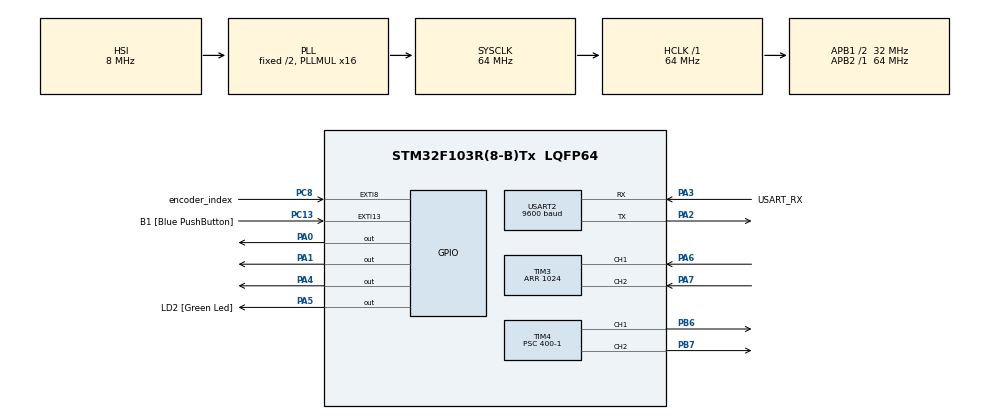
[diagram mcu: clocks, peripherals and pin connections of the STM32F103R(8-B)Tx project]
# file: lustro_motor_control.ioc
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Mcu.Family=STM32F1
Mcu.Name=STM32F103R(8-B)Tx
Mcu.Package=LQFP64
NVIC.EXTI15_10_IRQn=true\:0\:0\:false\:false\:true\:true
NVIC.EXTI9_5_IRQn=true\:0\:0\:false\:false\:true\:true
NVIC.PriorityGroup=NVIC_PRIORITYGROUP_4
NVIC.TIM2_IRQn=true\:0\:0\:false\:false\:true\:true
PA0-WKUP.Signal=GPIO_Output
PA1.Signal=GPIO_Output
PA13.GPIO_Label=TMS
PA13.Mode=Serial_Wire
PA13.Signal=SYS_JTMS-SWDIO
PA14.GPIO_Label=TCK
PA14.Mode=Serial_Wire
PA14.Signal=SYS_JTCK-SWCLK
PA2.GPIO_Speed=GPIO_SPEED_FREQ_LOW
PA2.Mode=Asynchronous
PA2.Signal=USART2_TX
PA3.GPIO_Label=USART_RX
PA3.GPIO_Mode=GPIO_MODE_INPUT
PA3.GPIO_PuPd=GPIO_NOPULL
PA3.GPIO_Speed=GPIO_SPEED_FREQ_LOW
PA3.Mode=Asynchronous
PA3.Signal=USART2_RX
PA4.Signal=GPIO_Output
PA5.GPIO_Label=LD2 [Green Led]
PA5.GPIO_ModeDefaultOutputPP=GPIO_MODE_OUTPUT_PP
PA5.GPIO_PuPd=GPIO_NOPULL
PA5.GPIO_Speed=GPIO_SPEED_FREQ_LOW
PA5.Signal=GPIO_Output
PA6.GPIO_PuPd=GPIO_PULLUP
PA6.Signal=S_TIM3_CH1
PA7.GPIO_PuPd=GPIO_PULLUP
PA7.Signal=S_TIM3_CH2
PB3.GPIO_Label=SWO
PB3.Signal=SYS_JTDO-TRACESWO
PB6.GPIO_Speed=GPIO_SPEED_FREQ_HIGH
PB6.Signal=S_TIM4_CH1
PB7.GPIO_Speed=GPIO_SPEED_FREQ_HIGH
PB7.Signal=S_TIM4_CH2
PC13-TAMPER-RTC.GPIO_Label=B1 [Blue PushButton]
PC13-TAMPER-RTC.GPIO_PuPd=GPIO_NOPULL
PC13-TAMPER-RTC.Signal=GPXTI13
PC14-OSC32_IN.Mode=LSE-External-Oscillator
PC14-OSC32_IN.Signal=RCC_OSC32_IN
PC15-OSC32_OUT.Mode=LSE-External-Oscillator
PC15-OSC32_OUT.Signal=RCC_OSC32_OUT
PC8.GPIO_Label=encoder_index
PC8.GPIO_ModeDefaultEXTI=GPIO_MODE_IT_RISING
PC8.GPIO_PuPd=GPIO_PULLUP
PC8.Signal=GPXTI8
PD0-OSC_IN.Mode=HSE-External-Clock-Source
PD0-OSC_IN.Signal=RCC_OSC_IN
PD1-OSC_OUT.Mode=HSE-External-Clock-Source
PD1-OSC_OUT.Signal=RCC_OSC_OUT
ProjectManager.HeapSize=0x200
ProjectManager.StackSize=0x400
ProjectManager.TargetToolchain=SW4STM32
RCC.AHBFreq_Value=64000000
RCC.APB1CLKDivider=RCC_HCLK_DIV2
RCC.APB1Freq_Value=32000000
RCC.APB1TimFreq_Value=64000000
RCC.APB2Freq_Value=64000000
RCC.APB2TimFreq_Value=64000000
RCC.HCLKFreq_Value=64000000
RCC.PLLMUL=RCC_PLL_MUL16
RCC.RTCClockSelection=RCC_RTCCLKSOURCE_LSE
RCC.SYSCLKFreq_VALUE=64000000
RCC.SYSCLKSource=RCC_SYSCLKSOURCE_PLLCLK
RCC.USBFreq_Value=64000000
SH.S_TIM3_CH1.0=TIM3_CH1,Encoder_Interface
SH.S_TIM3_CH2.0=TIM3_CH2,Encoder_Interface
SH.S_TIM4_CH1.0=TIM4_CH1,PWM Generation1 CH1
SH.S_TIM4_CH2.0=TIM4_CH2,PWM Generation2 CH2
TIM2.Period=100-1
TIM2.Prescaler=64000-1
TIM3.EncoderMode=TIM_ENCODERMODE_TI12
TIM3.Period=1024
TIM4.AutoReloadPreload=TIM_AUTORELOAD_PRELOAD_ENABLE
TIM4.Channel-PWM\ Generation1\ CH1=TIM_CHANNEL_1
TIM4.Channel-PWM\ Generation2\ CH2=TIM_CHANNEL_2
TIM4.OCFastMode_PWM-PWM\ Generation1\ CH1=TIM_OCFAST_ENABLE
TIM4.OCFastMode_PWM-PWM\ Generation2\ CH2=TIM_OCFAST_ENABLE
TIM4.Period=100-1
TIM4.Prescaler=400-1
USART2.BaudRate=9600
USART2.VirtualMode=VM_ASYNC
VP_TIM2_VS_ClockSourceINT.Mode=Internal
board=NUCLEO-F103RB

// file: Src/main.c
/**
  ******************************************************************************
  * @file           : main.c
  * @brief          : Main program body
  ******************************************************************************
  ** This notice applies to any and all portions of this file
  * that are not between comment pairs USER CODE BEGIN and
  * USER CODE END. Other portions of this file, whether
  * inserted by the user or by software development tools
  * are owned by their respective copyright owners.
  *
  * COPYRIGHT(c) 2018 STMicroelectronics
  *
  * Redistribution and use in source and binary forms, with or without modification,
  * are permitted provided that the following conditions are met:
  *   1. Redistributions of source code must retain the above copyright notice,
  *      this list of conditions and the following disclaimer.
  *   2. Redistributions in binary form must reproduce the above copyright notice,
  *      this list of conditions and the following disclaimer in the documentation
  *      and/or other materials provided with the distribution.
  *   3. Neither the name of STMicroelectronics nor the names of its contributors
  *      may be used to endorse or promote products derived from this software
  *      without specific prior written permission.
  *
  * THIS SOFTWARE IS PROVIDED BY THE COPYRIGHT HOLDERS AND CONTRIBUTORS "AS IS"
  * AND ANY EXPRESS OR IMPLIED WARRANTIES, INCLUDING, BUT NOT LIMITED TO, THE
  * IMPLIED WARRANTIES OF MERCHANTABILITY AND FITNESS FOR A PARTICULAR PURPOSE ARE
  * DISCLAIMED. IN NO EVENT SHALL THE COPYRIGHT HOLDER OR CONTRIBUTORS BE LIABLE
  * FOR ANY DIRECT, INDIRECT, INCIDENTAL, SPECIAL, EXEMPLARY, OR CONSEQUENTIAL
  * DAMAGES (INCLUDING, BUT NOT LIMITED TO, PROCUREMENT OF SUBSTITUTE GOODS OR
  * SERVICES; LOSS OF USE, DATA, OR PROFITS; OR BUSINESS INTERRUPTION) HOWEVER
  * CAUSED AND ON ANY THEORY OF LIABILITY, WHETHER IN CONTRACT, STRICT LIABILITY,
  * OR TORT (INCLUDING NEGLIGENCE OR OTHERWISE) ARISING IN ANY WAY OUT OF THE USE
  * OF THIS SOFTWARE, EVEN IF ADVISED OF THE POSSIBILITY OF SUCH DAMAGE.
  *
  ******************************************************************************
  */
#include "main.h"
#include "stm32f1xx_hal.h"

/* USER CODE BEGIN Includes */
#include <string.h>
#include <stdbool.h>
/* USER CODE END Includes */

TIM_HandleTypeDef htim2;
TIM_HandleTypeDef htim3;
TIM_HandleTypeDef htim4;

UART_HandleTypeDef huart2;

/* USER CODE BEGIN PV */
/* Private variables ---------------------------------------------------------*/
// TODO
// dodac max predkosc/wypelnienie, zabezpieczenie

volatile char message[200];
uint8_t value;
typedef enum {frd, brd} dir;

struct DC_Motor {
	float speed;
	float duty;
	dir rot_dir;
};

volatile uint16_t pulse_count = 0; // Licznik impulsow
volatile uint16_t pulse_count_prev = 0;
volatile uint8_t index_cnt = 0;
float velocity_meas = 0;
const float rpm_const = 17.066667;
int8_t msr =0;
int16_t delta_pulse;
/* USER CODE END PV */

void SystemClock_Config(void);
static void MX_GPIO_Init(void);
static void MX_TIM4_Init(void);
static void MX_TIM3_Init(void);
static void MX_TIM2_Init(void);
static void MX_USART2_UART_Init(void);

void HAL_TIM_MspPostInit(TIM_HandleTypeDef *htim);

/* USER CODE BEGIN PFP */
/* Private function prototypes -----------------------------------------------*/
void get_rotation(dir rot_dir_get, float speed_get, struct DC_Motor *ptr);
void set_pwm(struct DC_Motor *ptr);
void uart_send(char* s);
void measure_motor(uint16_t pulse_count, uint16_t pulse_count_prev, uint16_t delta_pulse);
//void HAL_SYSTICK_Callback(struct DC_Motor *ptr);
/* USER CODE END PFP */

int main(void)
{
  /* USER CODE BEGIN 1 */
	struct DC_Motor *mmeasPtr, motor_meas; //zapisuje ZMIERZONE dane
	mmeasPtr = &motor_meas;
	motor_meas.rot_dir = frd;
	motor_meas.speed = 4360.0;
	motor_meas.duty = motor_meas.speed/5260.0*100.0;// nominal speed 5260 rpm

	struct DC_Motor *mrefPtr, motor_ref; //zapisuje ZADANE/REFERENCE dane
	mrefPtr = &motor_ref;
	motor_ref.rot_dir = frd;
	motor_ref.speed = 4360.0;
	motor_ref.duty = motor_ref.speed/5260.0*100.0;// nominal speed 5260 rpm
	//	SystemCoreClock = 8000000; // taktowanie zegara 8Mhz

  /* USER CODE END 1 */

  /* MCU Configuration----------------------------------------------------------*/

  /* Reset of all peripherals, Initializes the Flash interface and the Systick. */
  HAL_Init();

  /* Configure the system clock */
  SystemClock_Config();

  /* Initialize all configured peripherals */
  MX_GPIO_Init();
  MX_TIM4_Init();
  MX_TIM3_Init();
  MX_TIM2_Init();
  MX_USART2_UART_Init();
  /* USER CODE BEGIN 2 */
	HAL_TIM_Encoder_Start(&htim3, TIM_CHANNEL_ALL);
	HAL_TIM_Base_Start_IT(&htim2);
  /* USER CODE END 2 */

  /* Infinite loop */
  /* USER CODE BEGIN WHILE */
	while (1)
	{

		if (__HAL_UART_GET_FLAG(&huart2, UART_FLAG_RXNE) == SET)
		{
			HAL_UART_Receive(&huart2, &value, 1, 100);
			printf("Odebrano: %c\r\n", value);
			switch(value){
			case 'a': // backward
				get_rotation(brd, 5255.0, &motor_ref);
				set_pwm(&motor_ref); // nie dziala
				break;
			case 'd':  //forward
				get_rotation(frd, 1920.0, &motor_ref); //test, bo to niby dobra predkosc
				set_pwm(&motor_ref);
				break;
			default:
				uart_send("default\n");
				break;
			}
		}
		if (msr==1){
			msr=0;
			measure_motor(pulse_count, pulse_count_prev, delta_pulse);

		}
  /* USER CODE END WHILE */

	}

}

void SystemClock_Config(void)
{

  RCC_OscInitTypeDef RCC_OscInitStruct;
  RCC_ClkInitTypeDef RCC_ClkInitStruct;

    /**Initializes the CPU, AHB and APB busses clocks
    */
  RCC_OscInitStruct.OscillatorType = RCC_OSCILLATORTYPE_HSI;
  RCC_OscInitStruct.HSIState = RCC_HSI_ON;
  RCC_OscInitStruct.HSICalibrationValue = 16;
  RCC_OscInitStruct.PLL.PLLState = RCC_PLL_ON;
  RCC_OscInitStruct.PLL.PLLSource = RCC_PLLSOURCE_HSI_DIV2;
  RCC_OscInitStruct.PLL.PLLMUL = RCC_PLL_MUL16;
  if (HAL_RCC_OscConfig(&RCC_OscInitStruct) != HAL_OK)
  {
    _Error_Handler(__FILE__, __LINE__);
  }

    /**Initializes the CPU, AHB and APB busses clocks
    */
  RCC_ClkInitStruct.ClockType = RCC_CLOCKTYPE_HCLK|RCC_CLOCKTYPE_SYSCLK
                              |RCC_CLOCKTYPE_PCLK1|RCC_CLOCKTYPE_PCLK2;
  RCC_ClkInitStruct.SYSCLKSource = RCC_SYSCLKSOURCE_PLLCLK;
  RCC_ClkInitStruct.AHBCLKDivider = RCC_SYSCLK_DIV1;
  RCC_ClkInitStruct.APB1CLKDivider = RCC_HCLK_DIV2;
  RCC_ClkInitStruct.APB2CLKDivider = RCC_HCLK_DIV1;

  if (HAL_RCC_ClockConfig(&RCC_ClkInitStruct, FLASH_LATENCY_2) != HAL_OK)
  {
    _Error_Handler(__FILE__, __LINE__);
  }

    /**Configure the Systick interrupt time
    */
  HAL_SYSTICK_Config(HAL_RCC_GetHCLKFreq()/1000);

    /**Configure the Systick
    */
  HAL_SYSTICK_CLKSourceConfig(SYSTICK_CLKSOURCE_HCLK);

  /* SysTick_IRQn interrupt configuration */
  HAL_NVIC_SetPriority(SysTick_IRQn, 0, 0);
}

/* TIM2 init function */
static void MX_TIM2_Init(void)
{

  TIM_ClockConfigTypeDef sClockSourceConfig;
  TIM_MasterConfigTypeDef sMasterConfig;

  htim2.Instance = TIM2;
  htim2.Init.Prescaler = 64000-1;
  htim2.Init.CounterMode = TIM_COUNTERMODE_UP;
  htim2.Init.Period = 100-1;
  htim2.Init.ClockDivision = TIM_CLOCKDIVISION_DIV1;
  htim2.Init.AutoReloadPreload = TIM_AUTORELOAD_PRELOAD_DISABLE;
  if (HAL_TIM_Base_Init(&htim2) != HAL_OK)
  {
    _Error_Handler(__FILE__, __LINE__);
  }

  sClockSourceConfig.ClockSource = TIM_CLOCKSOURCE_INTERNAL;
  if (HAL_TIM_ConfigClockSource(&htim2, &sClockSourceConfig) != HAL_OK)
  {
    _Error_Handler(__FILE__, __LINE__);
  }

  sMasterConfig.MasterOutputTrigger = TIM_TRGO_RESET;
  sMasterConfig.MasterSlaveMode = TIM_MASTERSLAVEMODE_DISABLE;
  if (HAL_TIMEx_MasterConfigSynchronization(&htim2, &sMasterConfig) != HAL_OK)
  {
    _Error_Handler(__FILE__, __LINE__);
  }

}

/* TIM3 init function */
static void MX_TIM3_Init(void)
{

  TIM_Encoder_InitTypeDef sConfig;
  TIM_MasterConfigTypeDef sMasterConfig;

  htim3.Instance = TIM3;
  htim3.Init.Prescaler = 0;
  htim3.Init.CounterMode = TIM_COUNTERMODE_UP;
  htim3.Init.Period = 1024;
  htim3.Init.ClockDivision = TIM_CLOCKDIVISION_DIV1;
  htim3.Init.AutoReloadPreload = TIM_AUTORELOAD_PRELOAD_DISABLE;
  sConfig.EncoderMode = TIM_ENCODERMODE_TI12;
  sConfig.IC1Polarity = TIM_ICPOLARITY_RISING;
  sConfig.IC1Selection = TIM_ICSELECTION_DIRECTTI;
  sConfig.IC1Prescaler = TIM_ICPSC_DIV1;
  sConfig.IC1Filter = 0;
  sConfig.IC2Polarity = TIM_ICPOLARITY_RISING;
  sConfig.IC2Selection = TIM_ICSELECTION_DIRECTTI;
  sConfig.IC2Prescaler = TIM_ICPSC_DIV1;
  sConfig.IC2Filter = 0;
  if (HAL_TIM_Encoder_Init(&htim3, &sConfig) != HAL_OK)
  {
    _Error_Handler(__FILE__, __LINE__);
  }

  sMasterConfig.MasterOutputTrigger = TIM_TRGO_RESET;
  sMasterConfig.MasterSlaveMode = TIM_MASTERSLAVEMODE_DISABLE;
  if (HAL_TIMEx_MasterConfigSynchronization(&htim3, &sMasterConfig) != HAL_OK)
  {
    _Error_Handler(__FILE__, __LINE__);
  }

}

/* TIM4 init function */
static void MX_TIM4_Init(void)
{

  TIM_MasterConfigTypeDef sMasterConfig;
  TIM_OC_InitTypeDef sConfigOC;

  htim4.Instance = TIM4;
  htim4.Init.Prescaler = 400-1;
  htim4.Init.CounterMode = TIM_COUNTERMODE_UP;
  htim4.Init.Period = 10-1;
  htim4.Init.ClockDivision = TIM_CLOCKDIVISION_DIV1;
  htim4.Init.AutoReloadPreload = TIM_AUTORELOAD_PRELOAD_ENABLE;
  if (HAL_TIM_PWM_Init(&htim4) != HAL_OK)
  {
    _Error_Handler(__FILE__, __LINE__);
  }

  sMasterConfig.MasterOutputTrigger = TIM_TRGO_RESET;
  sMasterConfig.MasterSlaveMode = TIM_MASTERSLAVEMODE_DISABLE;
  if (HAL_TIMEx_MasterConfigSynchronization(&htim4, &sMasterConfig) != HAL_OK)
  {
    _Error_Handler(__FILE__, __LINE__);
  }

  sConfigOC.OCMode = TIM_OCMODE_PWM1;
  sConfigOC.Pulse = 0;
  sConfigOC.OCPolarity = TIM_OCPOLARITY_HIGH;
  sConfigOC.OCFastMode = TIM_OCFAST_ENABLE;
  if (HAL_TIM_PWM_ConfigChannel(&htim4, &sConfigOC, TIM_CHANNEL_1) != HAL_OK)
  {
    _Error_Handler(__FILE__, __LINE__);
  }

  if (HAL_TIM_PWM_ConfigChannel(&htim4, &sConfigOC, TIM_CHANNEL_2) != HAL_OK)
  {
    _Error_Handler(__FILE__, __LINE__);
  }

  HAL_TIM_MspPostInit(&htim4);

}

/* USART2 init function */
static void MX_USART2_UART_Init(void)
{

  huart2.Instance = USART2;
  huart2.Init.BaudRate = 9600;
  huart2.Init.WordLength = UART_WORDLENGTH_8B;
  huart2.Init.StopBits = UART_STOPBITS_1;
  huart2.Init.Parity = UART_PARITY_NONE;
  huart2.Init.Mode = UART_MODE_TX_RX;
  huart2.Init.HwFlowCtl = UART_HWCONTROL_NONE;
  huart2.Init.OverSampling = UART_OVERSAMPLING_16;
  if (HAL_UART_Init(&huart2) != HAL_OK)
  {
    _Error_Handler(__FILE__, __LINE__);
  }

}

/** Configure pins as
        * Analog
        * Input
        * Output
        * EVENT_OUT
        * EXTI
*/
static void MX_GPIO_Init(void)
{

  GPIO_InitTypeDef GPIO_InitStruct;

  /* GPIO Ports Clock Enable */
  __HAL_RCC_GPIOC_CLK_ENABLE();
  __HAL_RCC_GPIOD_CLK_ENABLE();
  __HAL_RCC_GPIOA_CLK_ENABLE();
  __HAL_RCC_GPIOB_CLK_ENABLE();

  /*Configure GPIO pin Output Level */
  HAL_GPIO_WritePin(GPIOA, GPIO_PIN_0|GPIO_PIN_1|GPIO_PIN_4|LD2_Pin, GPIO_PIN_RESET);

  /*Configure GPIO pin : B1_Pin */
  GPIO_InitStruct.Pin = B1_Pin;
  GPIO_InitStruct.Mode = GPIO_MODE_IT_RISING;
  GPIO_InitStruct.Pull = GPIO_NOPULL;
  HAL_GPIO_Init(B1_GPIO_Port, &GPIO_InitStruct);

  /*Configure GPIO pins : PA0 PA1 PA4 LD2_Pin */
  GPIO_InitStruct.Pin = GPIO_PIN_0|GPIO_PIN_1|GPIO_PIN_4|LD2_Pin;
  GPIO_InitStruct.Mode = GPIO_MODE_OUTPUT_PP;
  GPIO_InitStruct.Pull = GPIO_NOPULL;
  GPIO_InitStruct.Speed = GPIO_SPEED_FREQ_LOW;
  HAL_GPIO_Init(GPIOA, &GPIO_InitStruct);

  /*Configure GPIO pin : encoder_index_Pin */
  GPIO_InitStruct.Pin = encoder_index_Pin;
  GPIO_InitStruct.Mode = GPIO_MODE_IT_RISING;
  GPIO_InitStruct.Pull = GPIO_PULLUP;
  HAL_GPIO_Init(encoder_index_GPIO_Port, &GPIO_InitStruct);

  /* EXTI interrupt init*/
  HAL_NVIC_SetPriority(EXTI9_5_IRQn, 0, 0);
  HAL_NVIC_EnableIRQ(EXTI9_5_IRQn);

  HAL_NVIC_SetPriority(EXTI15_10_IRQn, 0, 0);
  HAL_NVIC_EnableIRQ(EXTI15_10_IRQn);

}

/* USER CODE BEGIN 4 */

void get_rotation(dir rot_dir_get, float speed_get, struct DC_Motor *ptr){ // update reference (wanted) motor data
	ptr->rot_dir = rot_dir_get;
	ptr->speed = speed_get;
	ptr->duty = speed_get/5260.0*100.0; // nominal speed 5260 rpm
}

void set_pwm(struct DC_Motor *ptr){
	if (ptr->rot_dir == frd){
		HAL_GPIO_WritePin(GPIOA, GPIO_PIN_4, GPIO_PIN_RESET);
		HAL_GPIO_WritePin(GPIOA, GPIO_PIN_5, GPIO_PIN_SET);
		HAL_TIM_PWM_Stop(&htim4, TIM_CHANNEL_2);
		HAL_TIM_PWM_Start(&htim4, TIM_CHANNEL_1);
		__HAL_TIM_SET_COMPARE(&htim4, TIM_CHANNEL_1, ptr->duty);
	} else if (ptr->rot_dir == brd){
		HAL_GPIO_WritePin(GPIOA, GPIO_PIN_5, GPIO_PIN_RESET);
		HAL_GPIO_WritePin(GPIOA, GPIO_PIN_4, GPIO_PIN_SET);
		HAL_TIM_PWM_Stop(&htim4, TIM_CHANNEL_1);
		HAL_TIM_PWM_Start(&htim4, TIM_CHANNEL_2);
		__HAL_TIM_SET_COMPARE(&htim4, TIM_CHANNEL_2, ptr->duty);
	}

	sprintf(message, "motor is rotating %d with speed %.2f rpm, duty = %.2f\r\n",
			(int)ptr->rot_dir,  ptr->speed, ptr->duty);
	uart_send(message);
	//    HAL_Delay(200);
}

void uart_send(char* s){
	HAL_UART_Transmit(&huart2, (uint8_t*)s, strlen(s), 1000);
}

void measure_motor(uint16_t pulse_count, uint16_t pulse_count_prev, uint16_t delta_pulse){
	if ((pulse_count > pulse_count_prev) && delta_pulse < 800){
		//		get_rotation(frd, 5255.0, &motor_meas);
		sprintf(message, "motor is rotating frd with speed %d rpm\r\n", delta_pulse);
		uart_send(message);
		uart_send("forward\r\n");
	} else if ((pulse_count < pulse_count_prev) && delta_pulse > -800){
		//		get_rotation(brd, 5255.0, &mmeasPtr);
		uart_send("backward\r\n");
	}
	pulse_count_prev = pulse_count;
}

void HAL_TIM_PeriodElapsedCallback(TIM_HandleTypeDef *htim){
	if (htim->Instance == TIM2){
		pulse_count = TIM3->CNT;
//		TIM3->CNT=0;
		delta_pulse = pulse_count - pulse_count_prev;
		pulse_count_prev = pulse_count;
		msr=1;

	}
}

/* USER CODE END 4 */

void _Error_Handler(char *file, int line)
{
	while(1)
	{
	}
}

//vrr

/************************ (C) COPYRIGHT STMicroelectronics *****END OF FILE****/
